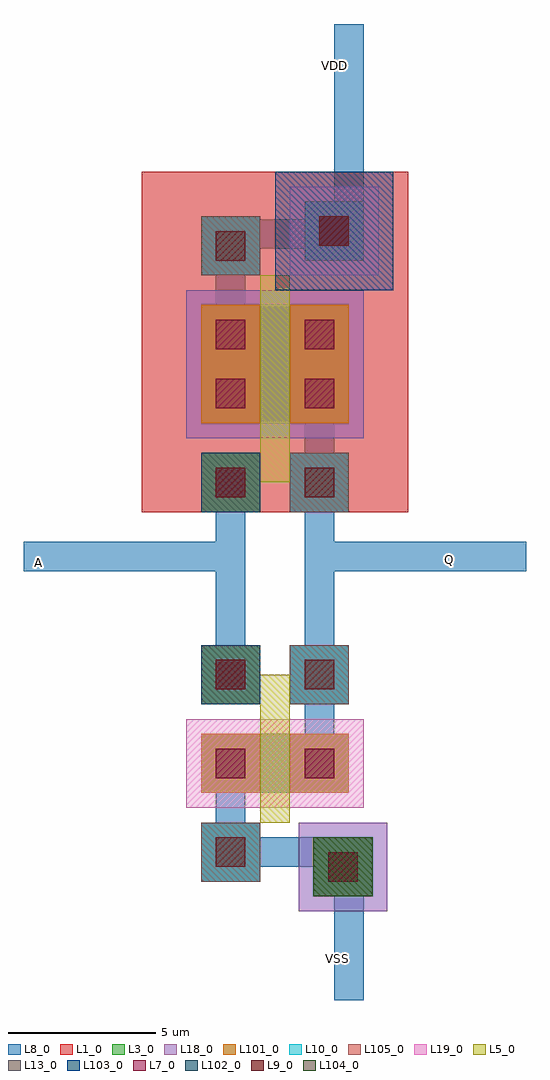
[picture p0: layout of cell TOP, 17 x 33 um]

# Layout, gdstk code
import gdstk
lib = gdstk.Library(unit=1e-6, precision=1e-07)
def R(c, l, rs):  # rectangles x0, y0, x1, y1
    for r in rs: c.add(gdstk.rectangle(r[:2], r[2:], *l))
L1_0 = (1, 0)
L3_0 = (3, 0)
L5_0 = (5, 0)
L7_0 = (7, 0)
L8_0 = (8, 0)
L9_0 = (9, 0)
L10_0 = (10, 0)
L13_0 = (13, 0)
L18_0 = (18, 0)
L19_0 = (19, 0)
L101_0 = (101, 0)
L102_0 = (102, 0)
L103_0 = (103, 0)
L104_0 = (104, 0)
L105_0 = (105, 0)

dcont = lib.new_cell('dcont')
R(dcont, L3_0, [(-1,-1,1,1)])
R(dcont, L7_0, [(-0.5,-0.5,0.5,0.5)])
R(dcont, L8_0, [(-1,-1,1,1)])
R(dcont, L13_0, [(-0.5,-0.5,0.5,0.5)])
R(dcont, L101_0, [(-1,-1,1,1)])

pcont = lib.new_cell('pcont')
R(pcont, L5_0, [(-1,-1,1,1)])
R(pcont, L7_0, [(-0.5,-0.5,0.5,0.5)])
R(pcont, L8_0, [(-1,-1,1,1)])
R(pcont, L13_0, [(-0.5,-0.5,0.5,0.5)])
R(pcont, L102_0, [(-1,-1,1,1)])

via = lib.new_cell('Via')
R(via, L8_0, [(-1,-1,1,1)])
R(via, L9_0, [(-0.5,-0.5,0.5,0.5)])
R(via, L10_0, [(-1,-1,1,1)])
R(via, L13_0, [(-0.5,-0.5,0.5,0.5)])
R(via, L105_0, [(-1,-1,1,1)])

dcont1 = lib.new_cell('dcont1')
R(dcont1, L3_0, [(-1,-1,1,1)])
R(dcont1, L7_0, [(-0.5,-0.5,0.5,0.5)])
R(dcont1, L8_0, [(-1,-1,1,1)])
R(dcont1, L13_0, [(-0.5,-0.5,0.5,0.5)])
R(dcont1, L101_0, [(-1,-1,1,1)])

nsubcont = lib.new_cell('nsubcont')
R(nsubcont, L1_0, [(-2,-2,2,2)])
R(nsubcont, L19_0, [(-1.5,-1.5,1.5,1.5)])
R(nsubcont, L103_0, [(-2,-2,2,2)])
nsubcont.add(gdstk.Reference(dcont1, (0,0)))

pch = lib.new_cell('Pch')
R(pch, L1_0, [(-2,0,7,11.5)])
R(pch, L3_0, [(0,3,5,7)])
R(pch, L18_0, [(-0.5,2.5,5.5,7.5)])
pch.add(gdstk.FlexPath([(1,3),(1,7)], 2, ends="flush", simple_path=True, layer=8, datatype=0))  # L8_0
pch.add(gdstk.FlexPath([(4,3),(4,7)], 2, ends="flush", simple_path=True, layer=8, datatype=0))  # L8_0
pch.add(gdstk.FlexPath([(1,6),(1,9)], 1, ends="flush", simple_path=True, layer=8, datatype=0))  # L8_0
pch.add(gdstk.FlexPath([(4,1),(4,4)], 1, ends="flush", simple_path=True, layer=8, datatype=0))  # L8_0
pch.add(gdstk.FlexPath([(2.5,3),(2.5,7)], 1, ends=(1, 1), simple_path=True, layer=5, datatype=0))  # L5_0
pch.add(gdstk.FlexPath([(1,1.5),(2.5,1.5),(2.5,2)], 1, ends="flush", simple_path=True, layer=5, datatype=0))  # L5_0
pch.add(gdstk.Reference(dcont, (1,4)))
pch.add(gdstk.Reference(dcont, (1,6)))
pch.add(gdstk.Reference(dcont, (4,4)))
pch.add(gdstk.Reference(dcont, (4,6)))
pch.add(gdstk.Reference(pcont, (1,1)))
pch.add(gdstk.Reference(via, (1,1)))
pch.add(gdstk.Reference(via, (1,9)))
pch.add(gdstk.Reference(via, (4,1)))
pch.add(gdstk.Reference(nsubcont, (4.5,9.5)))
pch.add(gdstk.Reference(via, (4.5,9.5)))

psubcont = lib.new_cell('psubcont')
R(psubcont, L18_0, [(-1.5,-1.5,1.5,1.5)])
R(psubcont, L104_0, [(-1,-1,1,1)])
psubcont.add(gdstk.Reference(dcont1, (0,0)))

nch_1 = lib.new_cell('Nch$1')
R(nch_1, L3_0, [(0,3,5,5)])
R(nch_1, L19_0, [(-0.5,2.5,5.5,5.5)])
nch_1.add(gdstk.FlexPath([(1,3),(1,5)], 2, ends="flush", simple_path=True, layer=8, datatype=0))  # L8_0
nch_1.add(gdstk.FlexPath([(4,3),(4,5)], 2, ends="flush", simple_path=True, layer=8, datatype=0))  # L8_0
nch_1.add(gdstk.FlexPath([(1,1),(1,4)], 1, ends="flush", simple_path=True, layer=8, datatype=0))  # L8_0
nch_1.add(gdstk.FlexPath([(4,4),(4,7)], 1, ends="flush", simple_path=True, layer=8, datatype=0))  # L8_0
nch_1.add(gdstk.FlexPath([(2.5,3),(2.5,5)], 1, ends=(1, 1), simple_path=True, layer=5, datatype=0))  # L5_0
nch_1.add(gdstk.FlexPath([(1,6.5),(2.5,6.5),(2.5,6)], 1, ends="flush", simple_path=True, layer=5, datatype=0))  # L5_0
nch_1.add(gdstk.Reference(dcont, (1,4)))
nch_1.add(gdstk.Reference(dcont, (4,4)))
nch_1.add(gdstk.Reference(pcont, (1,7)))
nch_1.add(gdstk.Reference(via, (1,7)))
nch_1.add(gdstk.Reference(via, (1,1)))
nch_1.add(gdstk.Reference(via, (4,7)))
nch_1.add(gdstk.Reference(psubcont, (4.8,0.5)))
nch_1.add(gdstk.Reference(via, (4.8,0.5)))

top = lib.new_cell('TOP')
top.add(gdstk.FlexPath([(7,-7),(11,-7),(11,-7)], 1, ends="flush", simple_path=True, layer=8, datatype=0))  # L8_0
top.add(gdstk.FlexPath([(11,14),(11,21),(11,21)], 1, ends="flush", simple_path=True, layer=8, datatype=0))  # L8_0
top.add(gdstk.FlexPath([(7,6),(7,-1)], 1, ends="flush", simple_path=True, layer=8, datatype=0))  # L8_0
top.add(gdstk.FlexPath([(7,3),(0,3)], 1, ends="flush", simple_path=True, layer=8, datatype=0))  # L8_0
top.add(gdstk.FlexPath([(10,6),(10,-1),(10,-1)], 1, ends="flush", simple_path=True, layer=8, datatype=0))  # L8_0
top.add(gdstk.FlexPath([(10,3),(17,3)], 1, ends="flush", simple_path=True, layer=8, datatype=0))  # L8_0
top.add(gdstk.FlexPath([(10.4,13.9),(6.8,13.9)], 1, ends="flush", simple_path=True, layer=8, datatype=0))  # L8_0
top.add(gdstk.FlexPath([(11,-7),(11,-12)], 1, ends="flush", simple_path=True, layer=8, datatype=0))  # L8_0
top.add(gdstk.Reference(pch, (6,4.5)))
top.add(gdstk.Reference(nch_1, (6,-8)))
top.add(gdstk.Label('A', (0.5,2.8), layer=8, texttype=0))
top.add(gdstk.Label('VDD', (10.5,19.6), layer=8, texttype=0))
top.add(gdstk.Label('Q', (14.4,2.9), layer=8, texttype=0))
top.add(gdstk.Label('VSS', (10.6,-10.6), layer=8, texttype=0))

lib.write_gds('TOP.gds')
